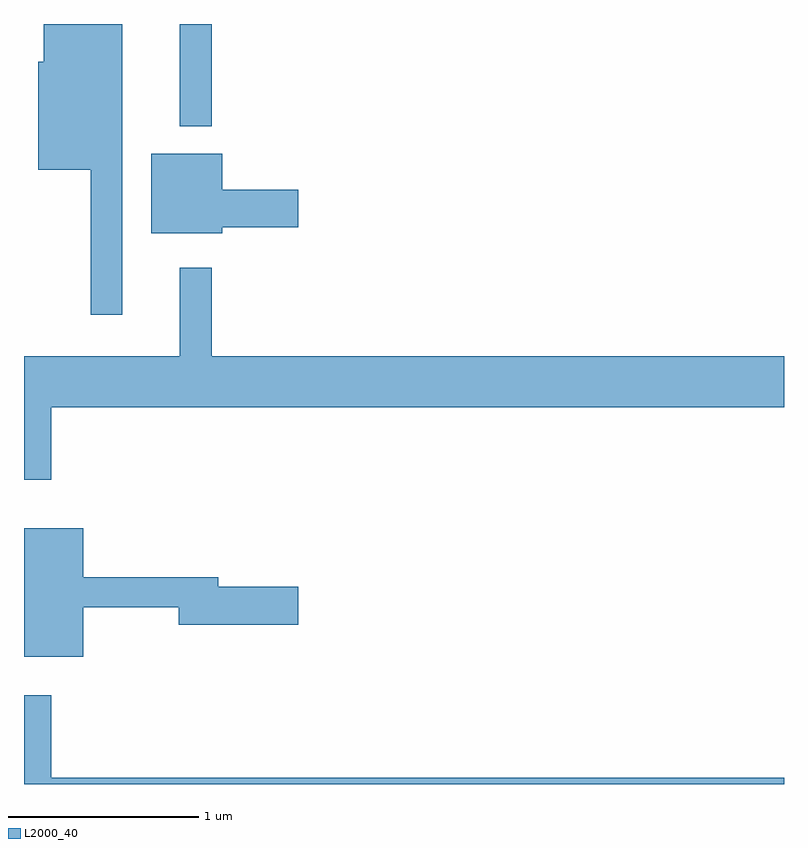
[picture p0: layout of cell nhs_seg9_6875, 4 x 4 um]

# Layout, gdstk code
import gdstk
lib = gdstk.Library(unit=1e-6, precision=1e-09)
def R(c, l, rs):  # rectangles x0, y0, x1, y1
    for r in rs: c.add(gdstk.rectangle(r[:2], r[2:], *l))
def P(c, l, *ps):  # polygons
    for p in ps: c.add(gdstk.Polygon(p, *l))
L2000_40 = (2000, 40)

nhs_seg9_6875 = lib.new_cell('nhs_seg9_6875')
R(nhs_seg9_6875, L2000_40, [(388.431,2059.893,388.599,2060.432)])
P(nhs_seg9_6875, L2000_40, [(388.129,2060.432),(387.716,2060.432),(387.716,2060.234),(387.686,2060.234),(387.686,2059.666),(387.961,2059.666),(387.961,2058.903),(388.129,2058.903)],
  [(388.654,2059.361),(389.054,2059.361),(389.054,2059.559),(388.654,2059.559),(388.654,2059.749),(388.281,2059.749),(388.281,2059.331),(388.654,2059.331)],
  [(387.754,2058.416),(391.611,2058.416),(391.611,2058.684),(388.599,2058.684),(388.599,2059.148),(388.431,2059.148),(388.431,2058.684),(387.611,2058.684),(387.611,2058.033),(387.754,2058.033)],
  [(387.924,2057.361),(388.426,2057.361),(388.426,2057.271),(389.054,2057.271),(389.054,2057.469),(388.634,2057.469),(388.634,2057.519),(387.924,2057.519),(387.924,2057.779),(387.611,2057.779),(387.611,2057.101),(387.924,2057.101)],
  [(391.611,2056.464),(387.754,2056.464),(387.754,2056.898),(387.611,2056.898),(387.611,2056.432),(391.611,2056.432)])

lib.write_gds('nhs_seg9_6875.gds')
